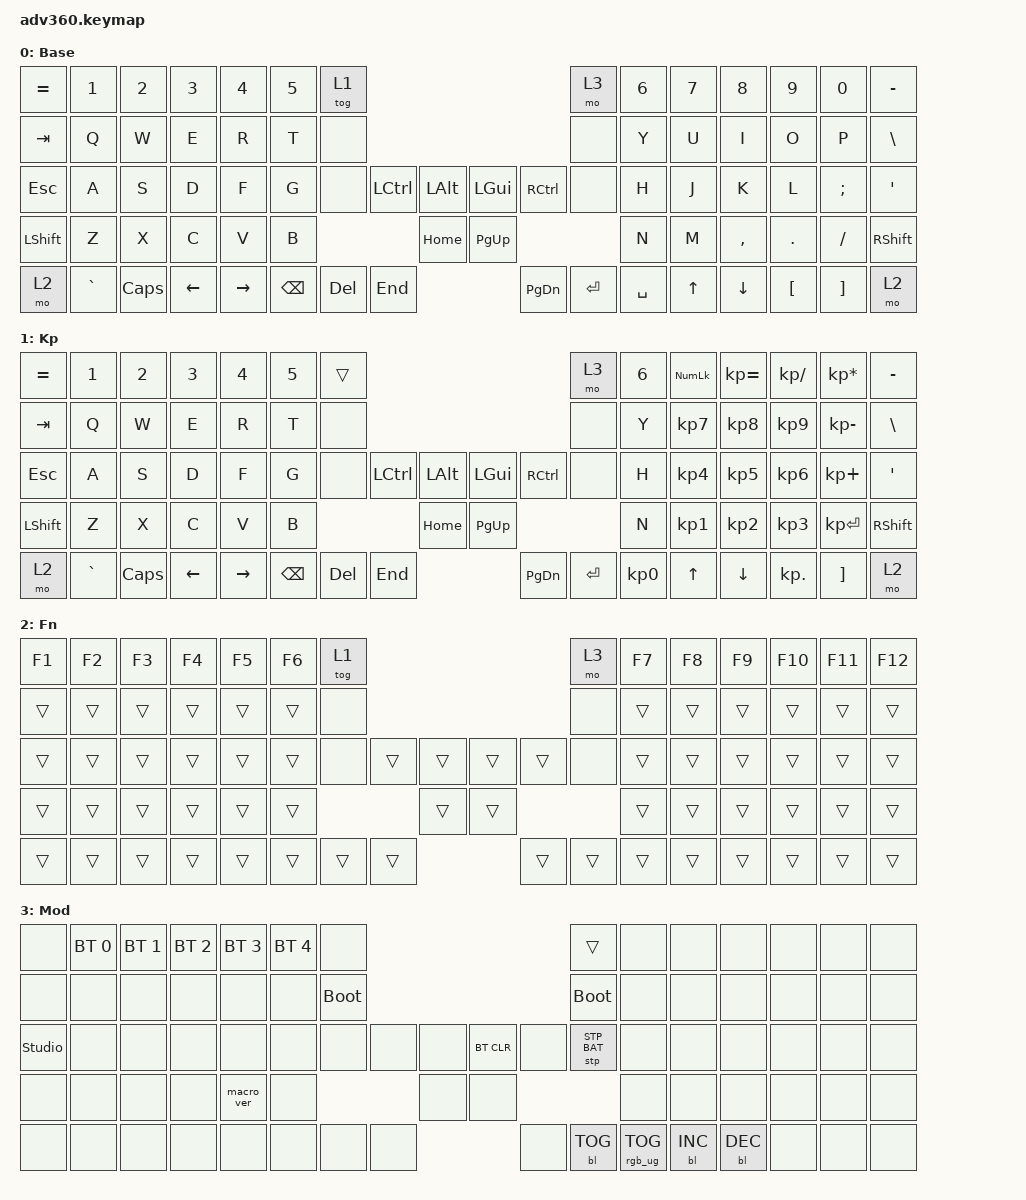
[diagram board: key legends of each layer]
#include <behaviors.dtsi>
#include <dt-bindings/zmk/keys.h>
#include <dt-bindings/zmk/bt.h>
#include <dt-bindings/zmk/rgb.h>
#include <dt-bindings/zmk/stp.h>
#include <dt-bindings/zmk/backlight.h>
#include <dt-bindings/zmk/pointing.h>

/ {
    behaviors {
      #include "macros.dtsi"
      #include "version.dtsi"

      hm: homerow_mods {
          compatible = "zmk,behavior-hold-tap";
          label = "HOMEROW_MODS";
          #binding-cells = <2>;
          tapping-term-ms = <200>;
          quick_tap_ms = <175>;
          flavor = "tap-preferred";
          bindings = <&kp>, <&kp>;
      };

        // tapdance-tool:begin (360 탭 댄스 생성기가 관리하는 영역)
        hold_shift: hold_shift {
            compatible = "zmk,behavior-hold-tap";
            #binding-cells = <2>;
            tapping-term-ms = <200>;
            flavor = "hold-preferred";
            hold-trigger-key-positions = <500>;
            bindings = <&kp>, <&kp>;
        };

        hs_e: hs_e {
            compatible = "zmk,behavior-tap-dance";
            display-name = "e/E";
            #binding-cells = <0>;
            bindings = <&hold_shift LS(E) E>;
        };

        hs_o: hs_o {
            compatible = "zmk,behavior-tap-dance";
            display-name = "o/O";
            #binding-cells = <0>;
            bindings = <&hold_shift LS(O) O>;
        };

        hs_p: hs_p {
            compatible = "zmk,behavior-tap-dance";
            display-name = "p/P";
            #binding-cells = <0>;
            bindings = <&hold_shift LS(P) P>;
        };

        hs_q: hs_q {
            compatible = "zmk,behavior-tap-dance";
            display-name = "q/Q";
            #binding-cells = <0>;
            bindings = <&hold_shift LS(Q) Q>;
        };

        hs_r: hs_r {
            compatible = "zmk,behavior-tap-dance";
            display-name = "r/R";
            #binding-cells = <0>;
            bindings = <&hold_shift LS(R) R>;
        };

        hs_t: hs_t {
            compatible = "zmk,behavior-tap-dance";
            display-name = "t/T";
            #binding-cells = <0>;
            bindings = <&hold_shift LS(T) T>;
        };

        hs_w: hs_w {
            compatible = "zmk,behavior-tap-dance";
            display-name = "w/W";
            #binding-cells = <0>;
            bindings = <&hold_shift LS(W) W>;
        };

        hs_n1: hs_n1 {
            compatible = "zmk,behavior-tap-dance";
            display-name = "1/!";
            #binding-cells = <0>;
            bindings = <&hold_shift LS(N1) N1>;
        };

        hs_n2: hs_n2 {
            compatible = "zmk,behavior-tap-dance";
            display-name = "2/@";
            #binding-cells = <0>;
            bindings = <&hold_shift LS(N2) N2>;
        };

        hs_n3: hs_n3 {
            compatible = "zmk,behavior-tap-dance";
            display-name = "3/#";
            #binding-cells = <0>;
            bindings = <&hold_shift LS(N3) N3>;
        };

        hs_n4: hs_n4 {
            compatible = "zmk,behavior-tap-dance";
            display-name = "4/$";
            #binding-cells = <0>;
            bindings = <&hold_shift LS(N4) N4>;
        };

        hs_n5: hs_n5 {
            compatible = "zmk,behavior-tap-dance";
            display-name = "5/%";
            #binding-cells = <0>;
            bindings = <&hold_shift LS(N5) N5>;
        };

        hs_n6: hs_n6 {
            compatible = "zmk,behavior-tap-dance";
            display-name = "6/^";
            #binding-cells = <0>;
            bindings = <&hold_shift LS(N6) N6>;
        };

        hs_n7: hs_n7 {
            compatible = "zmk,behavior-tap-dance";
            display-name = "7/&";
            #binding-cells = <0>;
            bindings = <&hold_shift LS(N7) N7>;
        };

        hs_n8: hs_n8 {
            compatible = "zmk,behavior-tap-dance";
            display-name = "8/*";
            #binding-cells = <0>;
            bindings = <&hold_shift LS(N8) N8>;
        };

        hs_n9: hs_n9 {
            compatible = "zmk,behavior-tap-dance";
            display-name = "9/(";
            #binding-cells = <0>;
            bindings = <&hold_shift LS(N9) N9>;
        };

        hs_n0: hs_n0 {
            compatible = "zmk,behavior-tap-dance";
            display-name = "0/)";
            #binding-cells = <0>;
            bindings = <&hold_shift LS(N0) N0>;
        };

        hs_grave: hs_grave {
            compatible = "zmk,behavior-tap-dance";
            display-name = "`/~";
            #binding-cells = <0>;
            bindings = <&hold_shift LS(GRAVE) GRAVE>;
        };

        hs_minus: hs_minus {
            compatible = "zmk,behavior-tap-dance";
            display-name = "-/_";
            #binding-cells = <0>;
            bindings = <&hold_shift LS(MINUS) MINUS>;
        };

        hs_equal: hs_equal {
            compatible = "zmk,behavior-tap-dance";
            display-name = "=/+";
            #binding-cells = <0>;
            bindings = <&hold_shift LS(EQUAL) EQUAL>;
        };

        hs_lbkt: hs_lbkt {
            compatible = "zmk,behavior-tap-dance";
            display-name = "[/{";
            #binding-cells = <0>;
            bindings = <&hold_shift LS(LBKT) LBKT>;
        };

        hs_rbkt: hs_rbkt {
            compatible = "zmk,behavior-tap-dance";
            display-name = "]/}";
            #binding-cells = <0>;
            bindings = <&hold_shift LS(RBKT) RBKT>;
        };

        hs_bslh: hs_bslh {
            compatible = "zmk,behavior-tap-dance";
            display-name = "bslh/|";
            #binding-cells = <0>;
            bindings = <&hold_shift LS(BSLH) BSLH>;
        };

        hs_semi: hs_semi {
            compatible = "zmk,behavior-tap-dance";
            display-name = ";/:";
            #binding-cells = <0>;
            bindings = <&hold_shift LS(SEMI) SEMI>;
        };

        hs_sqt: hs_sqt {
            compatible = "zmk,behavior-tap-dance";
            display-name = "qt/dqt";
            #binding-cells = <0>;
            bindings = <&hold_shift LS(SQT) SQT>;
        };

        hs_comma: hs_comma {
            compatible = "zmk,behavior-tap-dance";
            display-name = ",/<";
            #binding-cells = <0>;
            bindings = <&hold_shift LS(COMMA) COMMA>;
        };

        hs_dot: hs_dot {
            compatible = "zmk,behavior-tap-dance";
            display-name = "./>";
            #binding-cells = <0>;
            bindings = <&hold_shift LS(DOT) DOT>;
        };

        hs_fslh: hs_fslh {
            compatible = "zmk,behavior-tap-dance";
            display-name = "//?";
            #binding-cells = <0>;
            bindings = <&hold_shift LS(FSLH) FSLH>;
        };

        hs_ret: hs_ret {
            compatible = "zmk,behavior-tap-dance";
            display-name = "Ent/S+Ent";
            #binding-cells = <0>;
            bindings = <&hold_shift LS(RET) RET>;
        };
        // tapdance-tool:end
    };

  keymap {
    compatible = "zmk,keymap";

    default_layer {
      display-name = "Base";
      bindings = <
        &kp EQUAL &kp N1    &kp N2   &kp N3   &kp N4     &kp N5 &tog 1                                                           &mo 3 &kp N6 &kp N7 &kp N8    &kp N9   &kp N0   &kp MINUS
        &kp TAB   &kp Q     &kp W    &kp E    &kp R      &kp T  &none                                                            &none &kp Y  &kp U  &kp I     &kp O    &kp P    &kp BSLH
        &kp ESC   &kp A     &kp S    &kp D    &kp F      &kp G  &none           &kp LCTRL &kp LALT &kp LGUI  &kp RCTRL           &none &kp H  &kp J  &kp K     &kp L    &kp SEMI &kp SQT
        &kp LSHFT &kp Z     &kp X    &kp C    &kp V      &kp B                            &kp HOME &kp PG_UP                           &kp N  &kp M  &kp COMMA &kp DOT  &kp FSLH &kp RSHFT
        &mo 2     &kp GRAVE &kp CAPS &kp LEFT &kp RIGHT                &kp BSPC &kp DEL   &kp END  &kp PG_DN &kp ENTER &kp SPACE              &kp UP &kp DOWN  &kp LBKT &kp RBKT &mo 2
      >;
    };
    keypad {
      display-name = "Kp";
      bindings = <
        &kp EQUAL &kp N1    &kp N2   &kp N3   &kp N4     &kp N5 &trans                                                           &mo 3 &kp N6 &kp KP_NUM &kp KP_EQUAL &kp KP_DIVIDE &kp KP_MULTIPLY &kp MINUS
        &kp TAB   &kp Q     &kp W    &kp E    &kp R      &kp T  &none                                                            &none &kp Y  &kp KP_N7  &kp KP_N8    &kp KP_N9     &kp KP_MINUS    &kp BSLH
        &kp ESC   &kp A     &kp S    &kp D    &kp F      &kp G  &none           &kp LCTRL &kp LALT &kp LGUI  &kp RCTRL           &none &kp H  &kp KP_N4  &kp KP_N5    &kp KP_N6     &kp KP_PLUS     &kp SQT
        &kp LSHFT &kp Z     &kp X    &kp C    &kp V      &kp B                            &kp HOME &kp PG_UP                           &kp N  &kp KP_N1  &kp KP_N2    &kp KP_N3     &kp KP_ENTER    &kp RSHFT
        &mo 2     &kp GRAVE &kp CAPS &kp LEFT &kp RIGHT                &kp BSPC &kp DEL   &kp END  &kp PG_DN &kp ENTER &kp KP_N0              &kp UP     &kp DOWN     &kp KP_DOT    &kp RBKT        &mo 2
      >;
    };
    fn {
      display-name = "Fn";
      bindings = <
        &kp F1 &kp F2 &kp F3 &kp F4 &kp F5 &kp F6 &tog 1                                           &mo 3 &kp F7 &kp F8 &kp F9 &kp F10 &kp F11 &kp F12
        &trans &trans &trans &trans &trans &trans  &none                                           &none &trans &trans &trans &trans  &trans  &trans
        &trans &trans &trans &trans &trans &trans  &none        &trans &trans &trans &trans        &none &trans &trans &trans &trans  &trans  &trans
        &trans &trans &trans &trans &trans &trans                      &trans &trans                     &trans &trans &trans &trans  &trans  &trans
        &trans &trans &trans &trans &trans               &trans &trans &trans &trans &trans &trans              &trans &trans &trans  &trans  &trans
      >;
    };
    mod {
      display-name = "Mod";
      bindings = <
        &none &bt BT_SEL 0 &bt BT_SEL 1 &bt BT_SEL 2 &bt BT_SEL 3 &bt BT_SEL 4 &none                                                                     &trans                 &none        &none        &none        &none &none &none
        &none &none        &none        &none        &none        &none        &bootloader                                                               &bootloader            &none        &none        &none        &none &none &none
        &studio_unlock &none        &none        &none        &none        &none        &none                   &none &none &bt BT_CLR &none                      &stp STP_BAT &none        &none        &none        &none &none &none
        &none &none        &none        &none        &macro_ver   &none                                      &none &none                                                        &none        &none        &none        &none &none &none
        &none &none        &none        &none        &none                                       &none &none &none &none      &bl BL_TOG &rgb_ug RGB_TOG                                     &bl BL_INC   &bl BL_DEC   &none &none &none
      >;
    };
    extra1 { 
      display-name = "Red";    
      status = "reserved";
    };

    extra2 { 
      display-name = "Purple";    
      status = "reserved";
    };

    extra3 { 
      display-name = "Cyan";    
      status = "reserved";
    };

    extra4 { 
      display-name = "Yellow";    
      status = "reserved";
    };
  };
};
